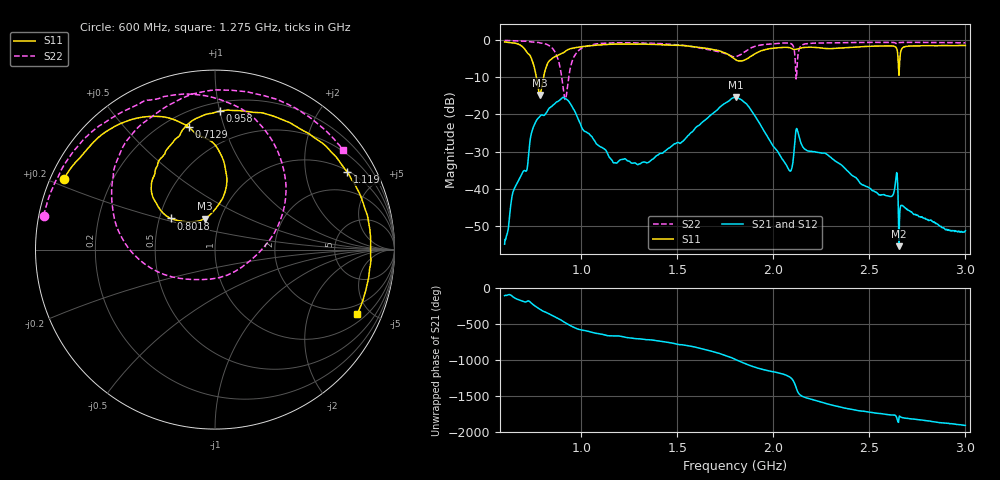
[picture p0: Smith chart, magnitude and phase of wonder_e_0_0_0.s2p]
#  HZ  S  RI  R  50.00
! Rohde & Schwarz ZVB8 2Ports - Version 2.81 - 1145.1010k08 SN: 100113
! Date: 2016-05-12 03:16:06
! Measurements: S11 S21 S12 S22
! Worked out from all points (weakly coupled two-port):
!   1000 points, 600 MHz to 3 GHz, reference 50 ohm
!   highest |S21| = -15.43 dB at 1.804 GHz (marker M1); lowest = -55.3 dB at 2.654 GHz (marker M2)
!   lowest |S11| = -14.8 dB at 782.6 MHz (marker M3), VSWR 1.44, Z = 42.1 + j15 ohm
!   |S11| at or under -10 dB: 765.3 MHz to 803.2 MHz (37.94 MHz wide, 4.84 % of centre)
!   |S22| runs from -16.0 to -0.2 dB; largest |S21 - S12| = 0.0012
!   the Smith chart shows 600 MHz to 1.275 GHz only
!   S11 on the Smith chart (normalised r, x): 600 MHz: 0.04, +0.22; 712.9 MHz: 0.29, +0.77; 801.8 MHz: 0.57, +0.22; 958 MHz: 0.26, +1.00; 1.119 GHz: 1.06, +3.38; 1.275 GHz: 1.41, -4.15
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6e8  -0.8437 0.3918  -0.000334 -0.00179  -0.000411 -0.00197  -0.9548 0.1897
7.129129e8  -0.1456 0.6826  -0.0173 0.00167  -0.0173 0.00151  -0.6901 0.6532
7.825826e8  -0.0578 0.1718  0.0288 0.0886  0.0288 0.0883  -0.3443 0.8363
8.018018e8  -0.2472 0.1735  0.0729 0.0634  0.0731 0.0638  -0.215 0.8632
8.834835e8  -0.2563 0.5724  0.0618 -0.1382  0.0616 -0.1385  0.3935 0.2883
9.171171e8  -0.1711 0.6781  -0.0796 -0.1399  -0.0794 -0.1398  0.0222 -0.1567
9.57958e8  0.0286 0.7715  -0.1179 -0.00104  -0.1179 -0.00103  -0.5502 0.1348
1.001201e9  0.2479 0.7638  -0.0501 0.0443  -0.0501 0.0441  -0.5118 0.5749
1.118919e9  0.7374 0.4308  0.00963 0.033  0.00973 0.033  0.1043 0.8865
1.275075e9  0.791 -0.3604  0.0206 0.00874  0.0206 0.00873  0.7152 0.553
1.4e9  0.3534 -0.7812  0.028 -0.00567  0.0281 -0.00573  0.8841 0.0672
1.635435e9  -0.568 -0.5201  -0.0487 -0.0641  -0.0486 -0.0641  0.4511 -0.6025
1.801201e9  -0.5421 -0.0057  -0.00158 0.1691  -0.00155 0.1694  0.1635 -0.5652
1.803604e9  -0.5369 -0.00581  0.00767 0.1691  0.0076 0.1694  0.1666 -0.5662
2.082282e9  -0.4386 0.6464  -0.0157 -0.00835  -0.0157 -0.00844  -0.5762 -0.6853
2.123123e9  -0.3256 0.6692  0.0606 0.019  0.0606 0.0192  -0.086 -0.4174
2.2e9  -0.0534 0.7881  -0.0109 -0.03  -0.0109 -0.03  -0.6391 -0.6242
2.457057e9  0.7413 0.3041  0.000173 0.0117  0.00019 0.0116  -0.9145 -0.0492
2.601201e9  0.7485 -0.3462  0.00648 0.00471  0.00643 0.00471  -0.8712 0.2831
2.654054e9  0.2712 -0.1944  0.00169 -0.000256  0.00169 -0.000391  -0.8342 0.3637
2.800601e9  0.1937 -0.8045  0.00262 -0.00292  0.00262 -0.00285  -0.6378 0.6575
3e9  -0.5167 -0.6537  -0.00108 -0.00253  -0.0012 -0.00244  -0.2147 0.8797
